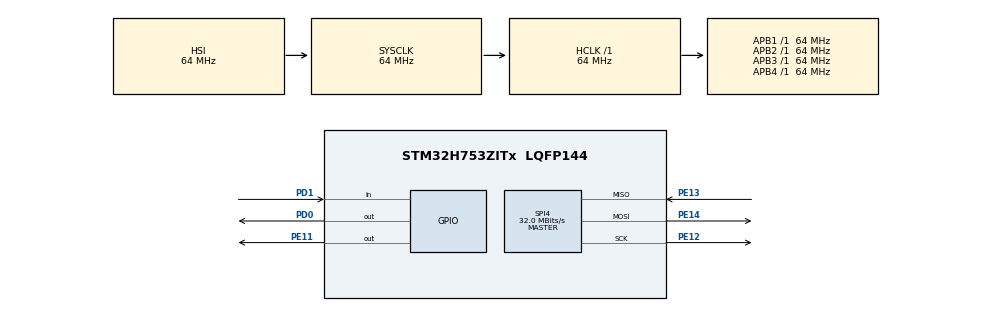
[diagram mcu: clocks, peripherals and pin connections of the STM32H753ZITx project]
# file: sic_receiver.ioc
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CORTEX_M7.CPU_DCache=Disabled
CORTEX_M7.CPU_ICache=Disabled
CORTEX_M7.MPU_Control=__NULL
CORTEX_M7.default_mode_Activation=1
Mcu.Family=STM32H7
Mcu.Name=STM32H753ZITx
Mcu.Package=LQFP144
NUCLEO-H753ZI.BUTTON=1
NUCLEO-H753ZI.LD1=true
NUCLEO-H753ZI.LD2=true
NUCLEO-H753ZI.LD3=true
NUCLEO-H753ZI.VCP=true
NVIC.EXTI15_10_IRQn=true\:0\:0\:false\:false\:true\:false\:true\:true
NVIC.PriorityGroup=NVIC_PRIORITYGROUP_4
PC14-OSC32_IN\ (OSC32_IN).Signal=RCC_OSC32_IN
PC15-OSC32_OUT\ (OSC32_OUT).Signal=RCC_OSC32_OUT
PD0.Signal=GPIO_Output
PD1.Signal=GPIO_Input
PD8.Signal=USART3_TX
PD9.Signal=USART3_RX
PE11.Signal=GPIO_Output
PE12.Mode=Full_Duplex_Master
PE12.Signal=SPI4_SCK
PE13.Mode=Full_Duplex_Master
PE13.Signal=SPI4_MISO
PE14.Mode=Full_Duplex_Master
PE14.Signal=SPI4_MOSI
PH0-OSC_IN\ (PH0).Signal=RCC_OSC_IN
PH1-OSC_OUT\ (PH1).Signal=RCC_OSC_OUT
ProjectManager.HeapSize=0x200
ProjectManager.StackSize=0x400
ProjectManager.TargetToolchain=STM32CubeIDE
RCC.ADCFreq_Value=129000000
RCC.APB1Freq_Value=64000000
RCC.APB2Freq_Value=64000000
RCC.APB3Freq_Value=64000000
RCC.APB4Freq_Value=64000000
RCC.CortexFreq_Value=64000000
RCC.DIVM1=1
RCC.DIVN1=24
RCC.DIVQ1=4
RCC.HCLKFreq_Value=64000000
RCC.HSE_VALUE=8000000
RCC.PLLFRACN=0
RCC.PWR_Regulator_Voltage_Scale=PWR_REGULATOR_VOLTAGE_SCALE2
RCC.SYSCLKFreq_VALUE=64000000
RCC.USBFreq_Value=384000000
SPI4.CalculateBaudRate=32.0 MBits/s
SPI4.Direction=SPI_DIRECTION_2LINES
SPI4.Mode=SPI_MODE_MASTER
SPI4.VirtualType=VM_MASTER
VP_MEMORYMAP_VS_MEMORYMAP.Mode=CurAppReg
VP_NUCLEO-H753ZI_VS_BSP_COMMON.Mode=COMMON
board=NUCLEO-H753ZI

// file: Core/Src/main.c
/* USER CODE BEGIN Header */
/**
  ******************************************************************************
  * @file           : main.c
  * @brief          : Main program body
  ******************************************************************************
  * @attention
  *
  * Copyright (c) 2026 STMicroelectronics.
  * All rights reserved.
  *
  * This software is licensed under terms that can be found in the LICENSE file
  * in the root directory of this software component.
  * If no LICENSE file comes with this software, it is provided AS-IS.
  *
  ******************************************************************************
  */
/* USER CODE END Header */
#include "main.h"
#include "spi.h"
#include "gpio.h"

/* USER CODE BEGIN Includes */
#include "sic_fpga.h"
#include <stdio.h>
/* USER CODE END Includes */

COM_InitTypeDef BspCOMInit;

/* USER CODE BEGIN PV */
sic_driver_t sic_drv;
sic_channel_data_t channel_data;
/* USER CODE END PV */

void SystemClock_Config(void);

int main(void)
{

  /* MCU Configuration--------------------------------------------------------*/

  /* Reset of all peripherals, Initializes the Flash interface and the Systick. */
  HAL_Init();

  /* Configure the system clock */
  SystemClock_Config();

  /* Initialize all configured peripherals */
  MX_GPIO_Init();
  MX_SPI4_Init();

  /* Initialize leds */
  BSP_LED_Init(LED_GREEN);
  BSP_LED_Init(LED_YELLOW);
  BSP_LED_Init(LED_RED);

  /* Initialize USER push-button */
  BSP_PB_Init(BUTTON_USER, BUTTON_MODE_EXTI);

  /* Initialize COM1 port (115200, 8 bits, no parity) */
  BspCOMInit.BaudRate   = 115200;
  BspCOMInit.WordLength = COM_WORDLENGTH_8B;
  BspCOMInit.StopBits   = COM_STOPBITS_1;
  BspCOMInit.Parity     = COM_PARITY_NONE;
  BspCOMInit.HwFlowCtl  = COM_HWCONTROL_NONE;
  if (BSP_COM_Init(COM1, &BspCOMInit) != BSP_ERROR_NONE)
  {
    Error_Handler();
  }

  /* USER CODE BEGIN 2 */
  printf("=== SIC Receiver Starting ===\r\n");

  sic_init(&sic_drv, &hspi4,
		  (uint32_t)GPIOE, GPIO_PIN_11,
		  (uint32_t)GPIOD, GPIO_PIN_0,
		  (uint32_t)GPIOD, GPIO_PIN_1);

  printf("Waiting for FPGA...\r\n");
  if (sic_reset(&sic_drv, 1000) != 0) {
      printf("ERROR: FPGA not responding\r\n");
  }
  printf("SIC Receiver initialized\r\n");
  /* USER CODE END 2 */

  /* Infinite loop */
  while (1)
  {

    /* USER CODE BEGIN 3 */
	    if (sic_read_channels(&sic_drv, &channel_data, SIC_MAG_ALPHA_BETA) == 0) {
	        for (int ch = 0; ch < 4; ch++) {
	            printf("CH%d: I=%6d Q=%6d  Mag=%5u  (%d.%d dB)%s\r\n",
	                   ch,
	                   channel_data.iq[ch].i,
	                   channel_data.iq[ch].q,
	                   channel_data.mag[ch],
	                   channel_data.mag_db[ch] / 10,
	                   (channel_data.mag_db[ch] < 0 ? -channel_data.mag_db[ch] : channel_data.mag_db[ch]) % 10,
	                   (ch == channel_data.peak_ch) ? " [PEAK]" : "");
	        }
	        printf("---\r\n");
	    }
    HAL_Delay(500);
  }
  /* USER CODE END 3 */
}

void SystemClock_Config(void)
{
  RCC_OscInitTypeDef RCC_OscInitStruct = {0};
  RCC_ClkInitTypeDef RCC_ClkInitStruct = {0};

  HAL_PWREx_ConfigSupply(PWR_LDO_SUPPLY);

  __HAL_PWR_VOLTAGESCALING_CONFIG(PWR_REGULATOR_VOLTAGE_SCALE2);

  while(!__HAL_PWR_GET_FLAG(PWR_FLAG_VOSRDY)) {}

  RCC_OscInitStruct.OscillatorType = RCC_OSCILLATORTYPE_HSI;
  RCC_OscInitStruct.HSIState = RCC_HSI_DIV1;
  RCC_OscInitStruct.HSICalibrationValue = RCC_HSICALIBRATION_DEFAULT;
  RCC_OscInitStruct.PLL.PLLState = RCC_PLL_NONE;
  if (HAL_RCC_OscConfig(&RCC_OscInitStruct) != HAL_OK)
  {
    Error_Handler();
  }

  RCC_ClkInitStruct.ClockType = RCC_CLOCKTYPE_HCLK|RCC_CLOCKTYPE_SYSCLK
                              |RCC_CLOCKTYPE_PCLK1|RCC_CLOCKTYPE_PCLK2
                              |RCC_CLOCKTYPE_D3PCLK1|RCC_CLOCKTYPE_D1PCLK1;
  RCC_ClkInitStruct.SYSCLKSource = RCC_SYSCLKSOURCE_HSI;
  RCC_ClkInitStruct.SYSCLKDivider = RCC_SYSCLK_DIV1;
  RCC_ClkInitStruct.AHBCLKDivider = RCC_HCLK_DIV1;
  RCC_ClkInitStruct.APB3CLKDivider = RCC_APB3_DIV1;
  RCC_ClkInitStruct.APB1CLKDivider = RCC_APB1_DIV1;
  RCC_ClkInitStruct.APB2CLKDivider = RCC_APB2_DIV1;
  RCC_ClkInitStruct.APB4CLKDivider = RCC_APB4_DIV1;

  if (HAL_RCC_ClockConfig(&RCC_ClkInitStruct, FLASH_LATENCY_1) != HAL_OK)
  {
    Error_Handler();
  }

  /* USER CODE BEGIN 4 */
  /* Keep debug active during sleep/idle */
  HAL_DBGMCU_EnableDBGSleepMode();
  HAL_DBGMCU_EnableDBGStopMode();
  HAL_DBGMCU_EnableDBGStandbyMode();
  /* USER CODE END 4 */
}

void Error_Handler(void)
{
  __disable_irq();
  while (1)
  {
  }
}
